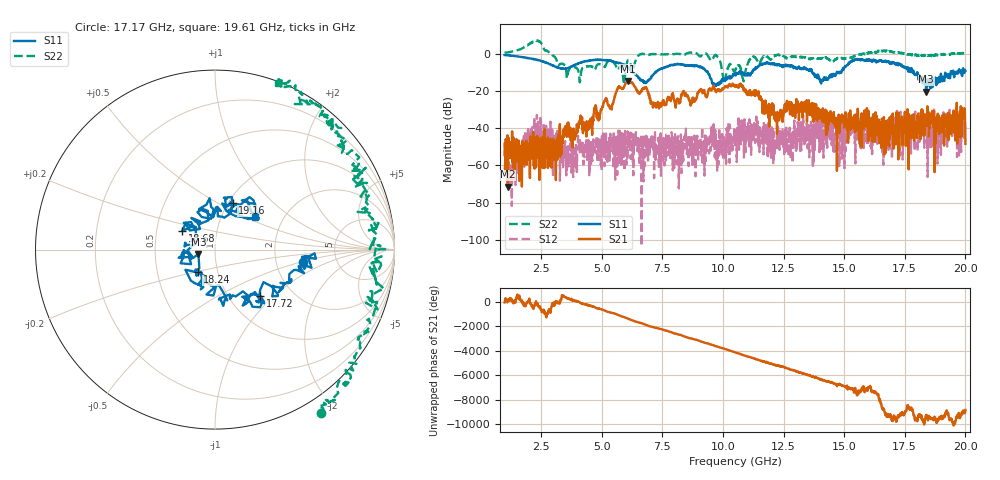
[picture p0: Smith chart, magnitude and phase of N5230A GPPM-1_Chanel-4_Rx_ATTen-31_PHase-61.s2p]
!Agilent Technologies,N5230A,US43500221,A.06.04.28
!Agilent N5230A: A.06.04.28
!Date: Monday, March 30, 2015 23:02:03
!Correction: S11(Full 2 Port(1,2)) S21(Full 2 Port(1,2)) S12(Full 2 Port(1,2)) S22(Full 2 Port(1,2))
!S2P File: Measurements: S11, S21, S12, S22:
# Hz S  dB  R 50
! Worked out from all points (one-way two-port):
!   1601 points, 1 GHz to 20 GHz, reference 50 ohm
!   highest |S21| = -14.72 dB at 6.071 GHz (marker M1); lowest = -71.4 dB at 1.131 GHz (marker M2)
!   lowest |S11| = -20.4 dB at 18.39 GHz (marker M3), VSWR 1.21, Z = 41.5 - j2.04 ohm
!   |S11| at or under -10 dB: 9.376 GHz to 10.69 GHz (1.31 GHz wide, 13.1 % of centre); 13.68 GHz to 14.7 GHz (1.018 GHz wide, 7.17 % of centre); 18.02 GHz to 19.4 GHz (1.379 GHz wide, 7.37 % of centre)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
!   |S22| runs from -16.1 to 7.0 dB; largest |S21 - S12| = 0.19
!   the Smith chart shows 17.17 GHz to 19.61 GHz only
!   S11 on the Smith chart (normalised r, x): 17.17 GHz: 2.85, -0.50; 17.72 GHz: 1.39, -0.82; 18.24 GHz: 0.80, -0.21; 18.68 GHz: 0.68, +0.15; 19.16 GHz: 1.05, +0.59; 19.61 GHz: 1.44, +0.58
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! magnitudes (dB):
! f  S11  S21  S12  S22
! 1 GHz  -0.8  -48.4  -62.0  0.4
! 1.131 GHz  -0.8  -71.4  -54.1  0.7
! 1.333 GHz  -1.2  -48.4  -62.3  1.2
! 2.377 GHz  -3.5  -48.4  -36.5  6.9
! 3.375 GHz  -8.2  -44.5  -54.9  -5.4
! 4.171 GHz  -4.8  -35.3  -49.7  -9.0
! 6.071 GHz  -7.2  -14.7  -41.8  -3.8
! 6.783 GHz  -15.4  -18.1  -60.4  -0.4
! 7.341 GHz  -8.8  -27.3  -45.1  -0.4
! 9.704 GHz  -17.2  -20.4  -43.3  -0.8
! 10.5 GHz  -10.9  -17.7  -50.1  -9.3
! 12.23 GHz  -5.8  -43.2  -40.8  -0.7
! 13.67 GHz  -9.7  -26.5  -41.3  -2.5
! 16.84 GHz  -4.6  -38.7  -36.8  1.1
! 17.17 GHz  -6.1  -39.9  -30.7  0.7
! 17.72 GHz  -8.9  -38.1  -45.8  -0.4
! 18.24 GHz  -15.9  -32.3  -31.4  -1.0
! 18.39 GHz  -20.4  -37.5  -40.2  -1.2
! 18.68 GHz  -13.5  -36.9  -37.1  -0.4
! 19.16 GHz  -11.1  -32.8  -37.9  -0.2
! 19.61 GHz  -10.8  -34.8  -32.5  -0.1
! 20 GHz  -9.3  -48.4  -37.6  0.0
